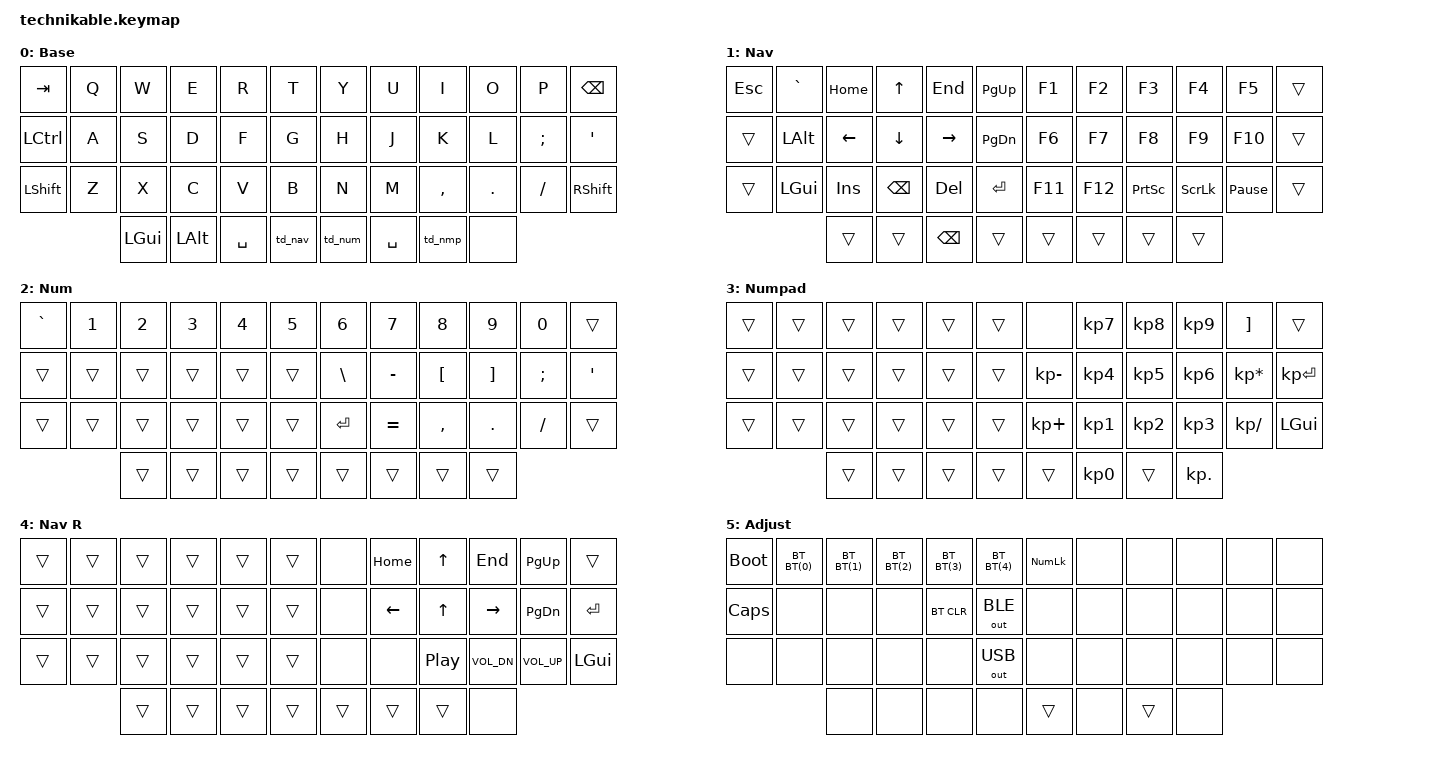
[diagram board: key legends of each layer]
/*
 * Copyright (c) 2022 Pete Johanson
 *
 * SPDX-License-Identifier: MIT
 */

#include <behaviors.dtsi>
#include <dt-bindings/zmk/keys.h>
#include <dt-bindings/zmk/bt.h>
#include <dt-bindings/zmk/outputs.h>


#define BAS_L 0
#define NAV_L 1
#define NUM_L 2
#define NMP_L 3
#define NVR_L 4
#define ADJ_L 5


// Using layer taps on thumbs, having quick tap as well helps w/ repeating space/backspace
&lt { quick_tap_ms = <200>; };

#define BT(n) BT_SEL n

/ {
    chosen {
       zmk,matrix_transform = &ortho_transform;
    };

    conditional_layers {
        compatible = "zmk,conditional-layers";
        tri_layer {
            if-layers = <NUM_L NMP_L>;
            then-layer = <ADJ_L>;
        };
    };

    behaviors {
        td_nav: tap_dance_nav {
            compatible = "zmk,behavior-tap-dance";
            label = "TAP_DANCE_NAV";
            #binding-cells = <0>;
            tapping-term-ms = <200>;
            bindings = <&mo NAV_L>, <&mo NUM_L>;
        };
        td_num: tap_dance_num {
            compatible = "zmk,behavior-tap-dance";
            label = "TAP_DANCE_NUM";
            #binding-cells = <0>;
            tapping-term-ms = <200>;
            bindings = <&mo NUM_L>, <&mo NVR_L>;
        };
        td_nmp: tap_dance_nmp {
            compatible = "zmk,behavior-tap-dance";
            label = "TAP_DANCE_NMP";
            #binding-cells = <0>;
            tapping-term-ms = <200>;
            bindings = <&mo NMP_L>, <&mo NAV_L>;
        };
    };

    keymap {
        compatible = "zmk,keymap";

        base_layer {
            label = "Base";
            bindings = <
&kp TAB     &kp Q       &kp W       &kp E       &kp R      &kp T       &kp Y       &kp U       &kp I       &kp O       &kp P       &kp BSPC
&kp LCTRL   &kp A       &kp S       &kp D       &kp F      &kp G       &kp H       &kp J       &kp K       &kp L       &kp SEMI    &kp SQT
&kp LSHFT   &kp Z       &kp X       &kp C       &kp V      &kp B       &kp N       &kp M       &kp COMMA   &kp DOT     &kp FSLH    &kp RSHFT
                        &kp LGUI    &kp LALT    &kp SPACE  &td_nav     &td_num     &kp SPACE   &td_nmp     &none
            >;
        };

        nav_layer {
            label = "Nav";
            bindings = <
&kp ESC     &kp GRAVE   &kp HOME    &kp UP      &kp END     &kp PG_UP   &kp F1      &kp F2      &kp F3      &kp F4      &kp F5      &trans
&trans      &kp LALT    &kp LEFT    &kp DOWN    &kp RIGHT   &kp PG_DN   &kp F6      &kp F7      &kp F8      &kp F9      &kp F10     &trans
&trans      &kp LGUI    &kp INS     &kp BSPC    &kp DEL     &kp ENTER   &kp F11     &kp F12     &kp PSCRN   &kp SLCK    &kp PAUSE_BREAK &trans
                        &trans      &trans      &kp BSPC    &trans      &trans      &trans      &trans      &trans
            >;
        };

        num_layer {
            label = "Num";
            bindings = <
&kp GRAVE   &kp N1      &kp N2      &kp N3      &kp N4      &kp N5      &kp N6      &kp N7      &kp N8      &kp N9      &kp N0      &trans
&trans      &trans      &trans      &trans      &trans      &trans      &kp BSLH    &kp MINUS   &kp LBKT    &kp RBKT    &kp SEMI    &kp QUOT
&trans      &trans      &trans      &trans      &trans      &trans      &kp ENTER   &kp EQUAL   &kp COMMA   &kp DOT     &kp FSLH    &trans
                        &trans      &trans      &trans      &trans      &trans      &trans      &trans      &trans
            >;
        };

        numpad_layer {
            label = "Numpad";
            bindings = <
&trans      &trans      &trans      &trans      &trans      &trans      &none        &kp KP_N7  &kp KP_N8   &kp KP_N9   &kp RBKT    &trans
&trans      &trans      &trans      &trans      &trans      &trans      &kp KP_MINUS &kp KP_N4  &kp KP_N5   &kp KP_N6   &kp KP_MULTIPLY &kp KP_ENTER
&trans      &trans      &trans      &trans      &trans      &trans      &kp KP_PLUS  &kp KP_N1  &kp KP_N2   &kp KP_N3   &kp KP_DIVIDE &kp LGUI
                        &trans      &trans      &trans      &trans      &trans      &kp KP_N0   &trans      &kp KP_DOT
            >;
        };

        right_nav_layer {
            label = "Nav R";
            bindings = <
&trans      &trans      &trans      &trans      &trans      &trans      &none       &kp HOME    &kp UP      &kp END     &kp PG_UP   &trans
&trans      &trans      &trans      &trans      &trans      &trans      &none       &kp LEFT    &kp UP      &kp RIGHT   &kp PG_DN   &kp ENTER
&trans      &trans      &trans      &trans      &trans      &trans      &none       &none       &kp C_PP    &kp C_VOL_DN &kp C_VOL_UP &kp LGUI
                        &trans      &trans      &trans      &trans      &trans      &trans      &trans      &none
            >;
        };

        adjust_layer {
            label = "Adjust";
            bindings = <
&bootloader &bt BT(0)   &bt BT(1)   &bt BT(2)   &bt BT(3)   &bt BT(4)    &kp KP_NLCK &none       &none       &none       &none      &none
&kp CAPS    &none       &none       &none       &bt BT_CLR  &out OUT_BLE &none       &none       &none       &none       &none      &none
&none       &none       &none       &none       &none       &out OUT_USB &none       &none       &none       &none       &none      &none
                        &none       &none       &none       &none        &trans      &none       &trans      &none 
            >;
        };
    };
};

